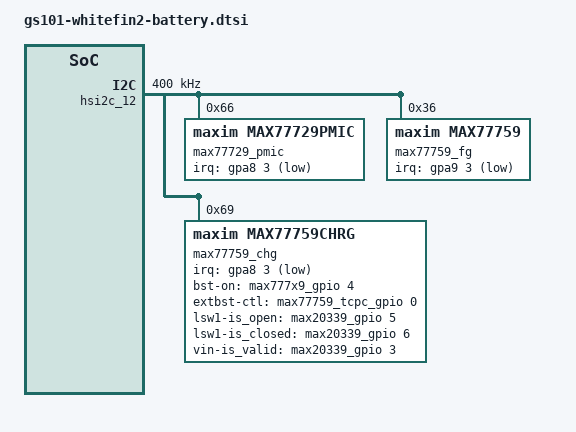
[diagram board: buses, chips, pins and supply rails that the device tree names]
// SPDX-License-Identifier: GPL-2.0-only
/*
 * Battery device tree entries specific to Whitefin
 *
 * Copyright 2020 Google,LLC
 *
 */

&pinctrl_0 {
/* [MAX77759: FG_INTB] > FG_INT_L > [XEINT_23 : SC59845XWE] */
	if_pmic_fg_irq: if-pmic-fg-irq {
		samsung,pins = "gpa9-3"; /* XEINT_23 */
		samsung,pin-function = <EXYNOS_PIN_FUNC_EINT>;
		samsung,pin-pud = <EXYNOS_PIN_PULL_UP>;
		samsung,pin-drv = <GS101_PIN_DRV_2_5_MA>;
	};

};

&pinctrl_1 {
/* [MAX77729FEWN : INTB] > IF_PMIC_IRQ_L > [XEINT_15 : SC59845XWE] */
	if_pmic_irq: if-pmic-irq {
		samsung,pins = "gpa8-3";
		samsung,pin-function = <EXYNOS_PIN_FUNC_EINT>;
		samsung,pin-pud = <EXYNOS_PIN_PULL_UP>;
		samsung,pin-drv = <GS101_PIN_DRV_2_5_MA>;
	};
};

&hsi2c_12{

	#address-cells = <1>;
	#size-cells = <0>;
	status = "okay";
	clock-frequency = <400000>;

	/* also as max77759 pmic  */
	max77729_pmic:max77729pmic@0x66 {
		status = "okay";
		compatible = "maxim,max77729pmic";
		reg = <0x66>;

		pinctrl-names = "default";
		pinctrl-0 = <&if_pmic_irq>;
		max777x9,irq-gpio = <&gpa8 3 GPIO_ACTIVE_LOW>;

		max77759,max_m5 = <&max77759_fg>;
		max20339,ovp = <&max20339_ovp>;

		max777x9_gpio: max777x9_gpio {
			gpio-controller;
			#gpio-cells = <2>;
			ngpios = <6>;
		};
	};

	max77759_fg:max77759fg@0x36 {
		status = "okay";
		compatible = "maxim,max77759";
		reg = <0x36>;

		/* FG_INT_L -> XEINT_23 */
		pinctrl-names = "default";
		pinctrl-0 = <&if_pmic_fg_irq>;
		maxim,irq-gpio = <&gpa9 3 GPIO_ACTIVE_LOW>;

		maxim,rsense-default = <500>;

		/* no needed for EEPROM */
		maxim,batt-id-range-pct = <0>;

		/* model data available only for V2P2 */

		maxim,psy-type-unknown;
	};

	max77759_chg:max77759chrg@0x69 {
		status = "okay";
		compatible = "maxim,max77759chrg";
		reg = <0x69>;

		#thermal-sensor-cells = <1>;

		interrupt-parent = <&gpa8>;
		max77759,irq-gpio = <&gpa8 3 GPIO_ACTIVE_LOW>;
		max77759,psy-name = "main-charger";

		max77759,max_m5 = <&max77759_fg>;
		max77759,pmic = <&max77729_pmic>;

		/* system use cases */
		max77759,bst-on = <&max777x9_gpio 4 GPIO_ACTIVE_HIGH>;
		max77759,bst-sel = <&gpp27 3 GPIO_ACTIVE_HIGH>;
		max77759,extbst-ctl = <&max77759_tcpc_gpio 0 GPIO_ACTIVE_HIGH>;
		max77759,lsw1-is_open = <&max20339_gpio 5 GPIO_ACTIVE_HIGH>;
		max77759,lsw1-is_closed = <&max20339_gpio 6 GPIO_ACTIVE_HIGH>;
		max77759,vin-is_valid =  <&max20339_gpio 3 GPIO_ACTIVE_HIGH>;
	};

};
